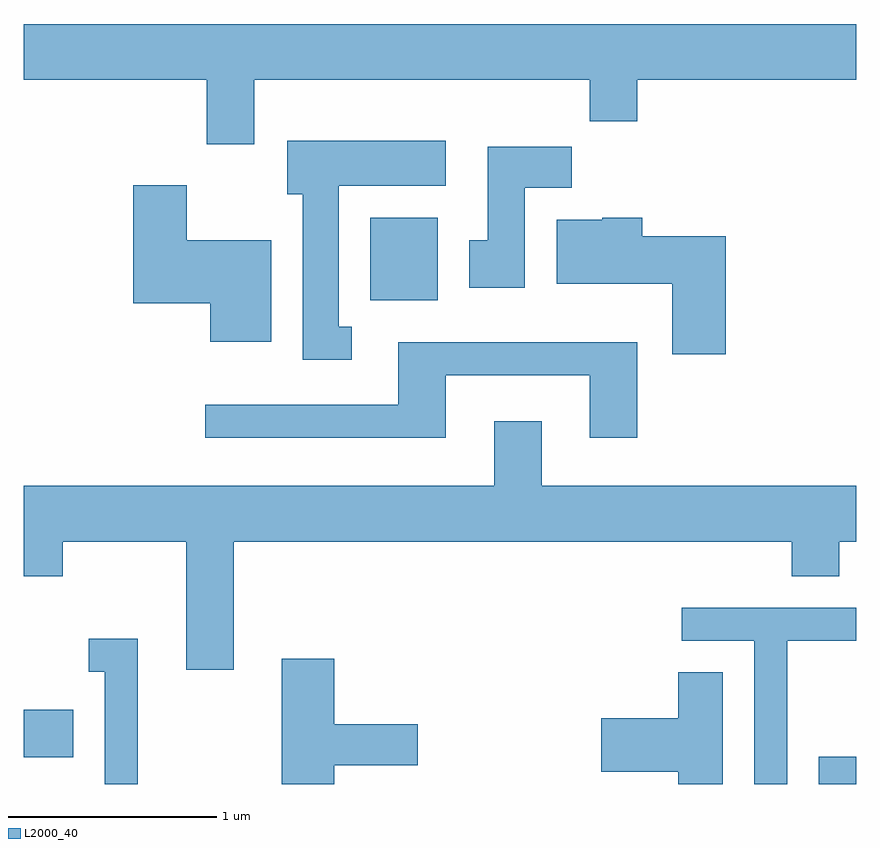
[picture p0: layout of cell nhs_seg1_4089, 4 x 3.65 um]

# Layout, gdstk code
import gdstk
lib = gdstk.Library(unit=1e-6, precision=1e-09)
def R(c, l, rs):  # rectangles x0, y0, x1, y1
    for r in rs: c.add(gdstk.rectangle(r[:2], r[2:], *l))
def P(c, l, *ps):  # polygons
    for p in ps: c.add(gdstk.Polygon(p, *l))
L2000_40 = (2000, 40)

nhs_seg1_4089 = lib.new_cell('nhs_seg1_4089')
R(nhs_seg1_4089, L2000_40, [(311.431,931.712,311.611,931.844), (307.611,931.841,307.849,932.069), (309.276,934.036,309.599,934.434)])
P(nhs_seg1_4089, L2000_40, [(308.719,935.096),(310.331,935.096),(310.331,934.896),(310.559,934.896),(310.559,935.096),(311.611,935.096),(311.611,935.364),(307.611,935.364),(307.611,935.096),(308.491,935.096),(308.491,934.786),(308.719,934.786)],
  [(309.188,933.909),(309.124,933.909),(309.124,934.586),(309.639,934.586),(309.639,934.804),(308.876,934.804),(308.876,934.546),(308.951,934.546),(308.951,933.751),(309.188,933.751)],
  [(310.019,934.576),(310.244,934.576),(310.244,934.774),(309.841,934.774),(309.841,934.324),(309.751,934.324),(309.751,934.096),(310.019,934.096)],
  [(308.799,934.324),(308.394,934.324),(308.394,934.589),(308.136,934.589),(308.136,934.021),(308.506,934.021),(308.506,933.836),(308.799,933.836)],
  [(310.984,934.344),(310.584,934.344),(310.584,934.434),(310.39,934.434),(310.39,934.424),(310.171,934.424),(310.171,934.116),(310.726,934.116),(310.726,933.776),(310.984,933.776)],
  [(309.639,933.676),(310.331,933.676),(310.331,933.376),(310.559,933.376),(310.559,933.834),(309.411,933.834),(309.411,933.534),(308.483,933.534),(308.483,933.376),(309.639,933.376)],
  [(308.619,932.876),(311.301,932.876),(311.301,932.711),(311.529,932.711),(311.529,932.876),(311.611,932.876),(311.611,933.144),(310.099,933.144),(310.099,933.454),(309.871,933.454),(309.871,933.144),(307.611,933.144),(307.611,932.711),(307.799,932.711),(307.799,932.876),(308.391,932.876),(308.391,932.261),(308.619,932.261)],
  [(311.279,932.401),(311.611,932.401),(311.611,932.559),(310.773,932.559),(310.773,932.401),(311.121,932.401),(311.121,931.712),(311.279,931.712)],
  [(308.159,932.409),(307.923,932.409),(307.923,932.251),(308.001,932.251),(308.001,931.712),(308.159,931.712)],
  [(309.104,931.801),(309.504,931.801),(309.504,931.999),(309.104,931.999),(309.104,932.314),(308.851,932.314),(308.851,931.712),(309.104,931.712)],
  [(310.969,932.249),(310.756,932.249),(310.756,932.029),(310.386,932.029),(310.386,931.771),(310.756,931.771),(310.756,931.712),(310.969,931.712)])

lib.write_gds('nhs_seg1_4089.gds')
